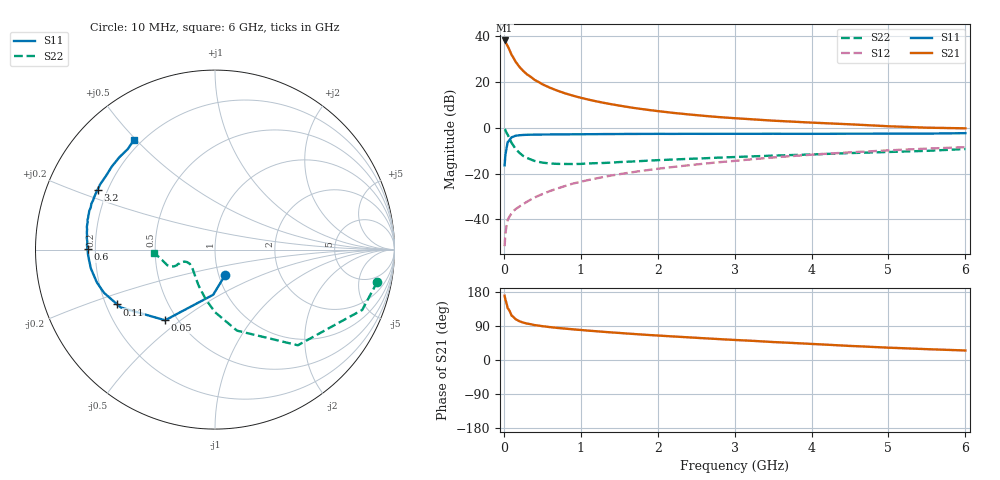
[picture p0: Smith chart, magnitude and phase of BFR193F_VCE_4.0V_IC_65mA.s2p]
! (c) 2017  Infineon Technologies AG, Munich
! Infineon Technologies  Discrete & RF Semiconductors
! BFR193F
! VCE =  4.0 V,  IC =  65 mA
! Common Emitter S-Parameters:  Jan 2017
# GHz  S  MA  R  50
!  f  S11  S21  S12  S22
! GHz  MAG  ANG  MAG  ANG  MAG  ANG  MAG  ANG
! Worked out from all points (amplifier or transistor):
!   77 points, 10 MHz to 6 GHz, reference 50 ohm
!   highest |S21| = 38.0 dB at 10 MHz (marker M1)
!   |S21| within 3 dB of that: start of sweep to 57.62 MHz
!   unconditionally stable (mu >= 1): 681.1 MHz to 2.431 GHz
!   at 130 MHz: K = 0.57, MSG = 33.2 dB, |S12| = -36.2 dB
!   at 2.2 GHz: K = 1.01, MAG = 11.1 dB, |S12| = -17.2 dB
!   at 6 GHz: K = 0.87, MSG = 4.1 dB, |S12| = -8.5 dB
!   S11 on the Smith chart (normalised r, x): 10 MHz: 1.08, -0.31; 50 MHz: 0.43, -0.44; 110 MHz: 0.25, -0.25; 600 MHz: 0.17, +0.00; 3.2 GHz: 0.16, +0.24; 6 GHz: 0.17, +0.49
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0.01  0.1505 -67.2  79.79 169.8  0.0026 89.3  0.9221 -11.2
0.02  0.2519 -92.3  76.06 159.6  0.0048 71.6  0.8863 -22.3
0.05  0.482 -125.2  60.03 137.0  0.0098 62.5  0.7051 -49.1
0.1  0.6165 -148.5  38.99 117.3  0.0135 52.7  0.468 -74.8
0.11  0.6243 -150.7  36.71 115.9  0.0141 53.1  0.4422 -77.2
0.15  0.6643 -158.9  27.88 108.1  0.0166 54.6  0.3492 -89.9
0.2  0.6834 -164.6  21.44 102.5  0.0189 57.0  0.285 -99.9
0.25  0.6922 -168.8  17.34 98.8  0.0214 59.6  0.2423 -108.4
0.3  0.6994 -171.3  14.58 96.2  0.0242 62.8  0.2185 -115.0
0.4  0.7042 -175.3  11.02 92.1  0.0299 66.5  0.1878 -125.4
0.5  0.7079 -177.8  8.863 89.3  0.0355 68.9  0.1731 -132.9
0.6  0.7101 179.9  7.419 86.8  0.0415 70.7  0.165 -138.8
0.7  0.714 177.9  6.373 84.6  0.0474 72.4  0.1622 -142.9
0.8  0.7126 176.6  5.579 82.8  0.0536 73.0  0.1614 -146.9
1.1  0.7202 172.4  4.091 77.5  0.0722 74.6  0.1659 -153.2
1.5  0.7259 167.9  3.03 71.4  0.0964 74.8  0.1776 -157.5
2.1  0.732 162.1  2.2 63.4  0.1327 74.1  0.1985 -159.3
3.1  0.7342 153.8  1.569 51.9  0.1953 71.7  0.232 -157.7
3.2  0.7344 152.9  1.531 50.9  0.2023 71.3  0.2354 -157.7
4.1  0.7338 144.9  1.267 41.4  0.2635 67.1  0.2638 -159.4
5.1  0.7405 135.1  1.057 31.8  0.3255 61.0  0.298 -168.2
6  0.759 126.6  0.967 25.1  0.375 55.6  0.3417 -177.1
